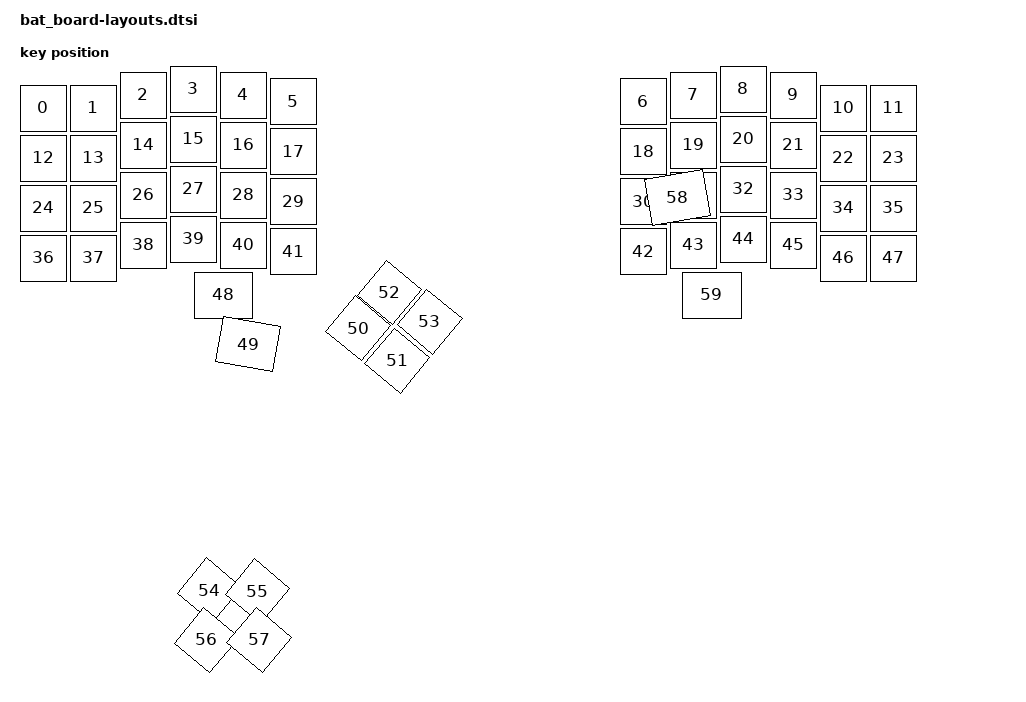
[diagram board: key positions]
#include <physicalayouts.dtsi>

/ {
    physical_layout0: physical_layout_0 {
        compatible = "zmk,physical-layout";
        display-name = "Bat Board";

        //kscan = <&kscan0>;
        transform = <&default_transform>;

        keys  //                     w   h    x    y     rot    rx    ry
            = <&key_physical_attrs 100 100    0   38       0     0     0>
            , <&key_physical_attrs 100 100  100   38       0     0     0>
            , <&key_physical_attrs 100 100  200   12       0     0     0>
            , <&key_physical_attrs 100 100  300    0       0     0     0>
            , <&key_physical_attrs 100 100  400   12       0     0     0>
            , <&key_physical_attrs 100 100  500   25       0     0     0>
            , <&key_physical_attrs 100 100 1200   25       0     0     0>
            , <&key_physical_attrs 100 100 1300   12       0     0     0>
            , <&key_physical_attrs 100 100 1400    0       0     0     0>
            , <&key_physical_attrs 100 100 1500   12       0     0     0>
            , <&key_physical_attrs 100 100 1600   38       0     0     0>
            , <&key_physical_attrs 100 100 1700   38       0     0     0>
            , <&key_physical_attrs 100 100    0  138       0     0     0>
            , <&key_physical_attrs 100 100  100  138       0     0     0>
            , <&key_physical_attrs 100 100  200  112       0     0     0>
            , <&key_physical_attrs 100 100  300  100       0     0     0>
            , <&key_physical_attrs 100 100  400  112       0     0     0>
            , <&key_physical_attrs 100 100  500  125       0     0     0>
            , <&key_physical_attrs 100 100 1200  125       0     0     0>
            , <&key_physical_attrs 100 100 1300  112       0     0     0>
            , <&key_physical_attrs 100 100 1400  100       0     0     0>
            , <&key_physical_attrs 100 100 1500  112       0     0     0>
            , <&key_physical_attrs 100 100 1600  138       0     0     0>
            , <&key_physical_attrs 100 100 1700  138       0     0     0>
            , <&key_physical_attrs 100 100    0  238       0     0     0>
            , <&key_physical_attrs 100 100  100  238       0     0     0>
            , <&key_physical_attrs 100 100  200  212       0     0     0>
            , <&key_physical_attrs 100 100  300  200       0     0     0>
            , <&key_physical_attrs 100 100  400  212       0     0     0>
            , <&key_physical_attrs 100 100  500  225       0     0     0>
            , <&key_physical_attrs 100 100 1200  225       0     0     0>
            , <&key_physical_attrs 100 100 1300  212       0     0     0>
            , <&key_physical_attrs 100 100 1400  200       0     0     0>
            , <&key_physical_attrs 100 100 1500  212       0     0     0>
            , <&key_physical_attrs 100 100 1600  238       0     0     0>
            , <&key_physical_attrs 100 100 1700  238       0     0     0>
            , <&key_physical_attrs 100 100    0  338       0     0     0>
            , <&key_physical_attrs 100 100  100  338       0     0     0>
            , <&key_physical_attrs 100 100  200  312       0     0     0>
            , <&key_physical_attrs 100 100  300  300       0     0     0>
            , <&key_physical_attrs 100 100  400  312       0     0     0>
            , <&key_physical_attrs 100 100  500  325       0     0     0>
            , <&key_physical_attrs 100 100 1200  325       0     0     0>
            , <&key_physical_attrs 100 100 1300  312       0     0     0>
            , <&key_physical_attrs 100 100 1400  300       0     0     0>
            , <&key_physical_attrs 100 100 1500  312       0     0     0>
            , <&key_physical_attrs 100 100 1600  338       0     0     0>
            , <&key_physical_attrs 100 100 1700  338       0     0     0>
            , <&key_physical_attrs 125 100  348  412       0     0     0>
            , <&key_physical_attrs 125 100  488  422    1000     0     0>
            , <&key_physical_attrs 100 100  598  432    4000   600   550>
            , <&key_physical_attrs 100 100  598  432    4000   550   690>
            , <&key_physical_attrs 100 100  598  432    4000   730   600>
            , <&key_physical_attrs 100 100  598  432    4000   690   740>
            , <&key_physical_attrs 100 100  920  510    4000     0     0>
            , <&key_physical_attrs 100 100  995  450    4000     0     0>
            , <&key_physical_attrs 100 100  980  590    4000     0     0>
            , <&key_physical_attrs 100 100 1060  522    4000     0     0>
            , <&key_physical_attrs 125 100 1190  442 (-1000)     0     0>
            , <&key_physical_attrs 125 100 1325  412       0     0     0>
            ;
    };
};
